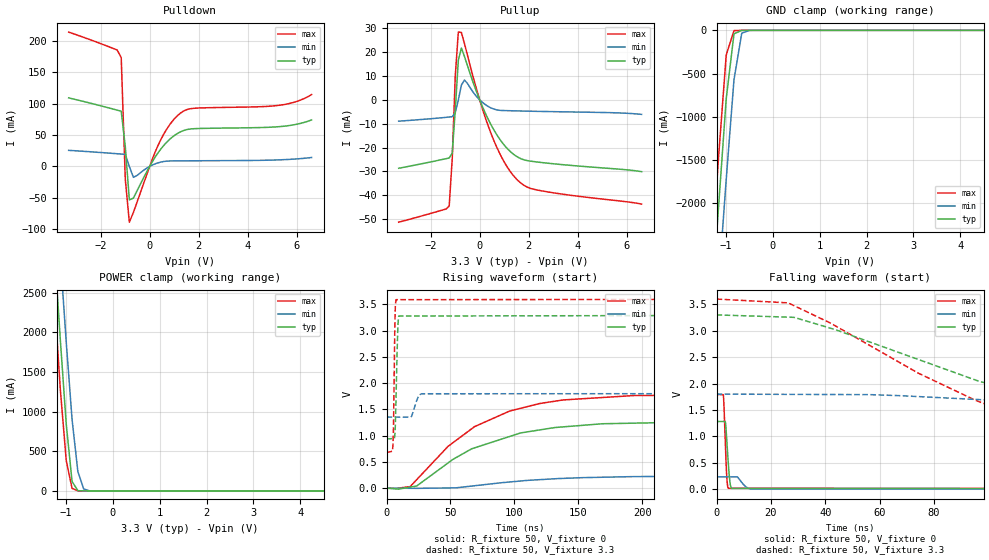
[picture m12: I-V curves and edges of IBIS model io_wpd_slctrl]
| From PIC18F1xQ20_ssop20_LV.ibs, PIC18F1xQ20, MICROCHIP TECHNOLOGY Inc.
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[Model] io_wpd_slctrl
Model_type I/O
Vinl  =  0.8
Vinh  =  2
| Capacitance   typ   min   max
C_comp   2.483675929654127e-12   2.463511073564505e-12   2.647142046368805e-12
[Model Spec]
| Subparameter   typ   min   max
Vinl   1.5   0.81   1.65
Vinh   3.6   1.89   3.85
Vmeas   2.5   1.35   2.75
| Variables   typ   min   max
[GND Clamp Reference]   0   0   0
[POWER Clamp Reference]   3.3   1.8   3.6
[Pulldown Reference]   0   0   0
[Pullup Reference]   3.3   1.8   3.6
[Temperature Range]   25   125   -40
[Voltage Range]   3.3   1.8   3.6
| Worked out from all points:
|   slope of the pulldown table from 0 to 0.495 V, typ, clamps not added: 16.7 ohm
|   slope of the pullup table from 0 to 0.495 V, typ, clamps not added: 44.8 ohm
|   GND clamp passes 1 mA (typ) near -0.66 V on its own axis
|   POWER clamp passes 1 mA (typ) near -0.65 V on its own axis
|   falling waveform, R_fixture 50, V_fixture 0: 20-80 % time 1.05ns typ, 2.37ns min, 798ps max; typ from 1.28 V to 0 V
|   falling waveform, R_fixture 50, V_fixture 3.3: 20-80 % time 94.8ns typ, 139ns min, 70ns max; typ from 3.3 V to 0.94 V
|   rising waveform, R_fixture 50, V_fixture 0: 20-80 % time 65.9ns typ, 68.9ns min, 62ns max; typ from 0 V to 1.28 V
|   rising waveform, R_fixture 50, V_fixture 3.3: 20-80 % time 1.44ns typ, 3.73ns min, 955ps max; typ from 0.936 V to 3.3 V
[GND Clamp]
| Voltage   I(typ)   I(min)   I(max)
-3.3V     -18.84A    -18.97A    -18.81A
-1.324V   -3.355A    -4.2A      -2.821A
-1.159V   -2.058A    -2.962A    -1.482A
-993.1mV  -791.4mA   -1.724A    -285.7mA
-827.6mV  -40.7mA    -571.9mA   -3.274mA
-662.1mV  -676.8uA   -33.3mA    -477.2uA
-496.6mV  -18.05uA   -400.8uA   -5.014uA
6.6V      0A         0A         0A
[POWER Clamp]
| Voltage   I(typ)   I(min)   I(max)
-3.3V     21.47A     21.8A      21.32A
-1.366V   4.117A     5.085A     3.517A
-1.241V   3.003A     4.012A     2.375A
-1.117V   1.89A      2.94A      1.267A
-993.1mV  844.1mA    1.877A     383.7mA
-869mV    119.8mA    904.7mA    32.43mA
-744.8mV  2.933mA    244.5mA    1.347mA
-620.7mV  318.4uA    25.24mA    377.7uA
-496.6mV  24.48uA    984.8uA    41.86uA
6.6V      0A         0A         0A
[Pulldown]
| Voltage   I(typ)   I(min)   I(max)
-3.3V     109.4mA    25.68mA    214.5mA
-1.324V   89.88mA    20.27mA    185.9mA
-1.159V   88.12mA    19.77mA    173.8mA
-993.1mV  31.88mA    19.25mA    -20.25mA
-827.6mV  -53.52mA   -38.8uA    -89.02mA
-662.1mV  -50.57mA   -17.43mA   -73.42mA
341.4mV   21.7mA     5.717mA    33.47mA
796.6mV   42.57mA    8.672mA    65.49mA
1.252V    55.15mA    8.913mA    85mA
1.821V    60.27mA    9.023mA    92.84mA
5.286V    63.53mA    10.51mA    97.64mA
6.6V      74.27mA    14.23mA    114.7mA
[Pullup]
| Voltage   I(typ)   I(min)   I(max)
-3.3V     -28.7mA    -8.943mA   -51.33mA
-1.241V   -24.41mA   -7.199mA   -44.6mA
-1.117V   -22.37mA   -7.062mA   -24.69mA
-993.1mV  -4.232mA   -5.311mA   10.1mA
-869mV    16.63mA    -60.81uA   28.44mA
-744.8mV  21.75mA    6.171mA    28.29mA
-620.7mV  18.28mA    8.311mA    23.71mA
455.2mV   -10.29mA   -3.355mA   -13.89mA
1.024V    -19.27mA   -4.499mA   -26.48mA
1.593V    -24.26mA   -4.657mA   -34.17mA
2.503V    -26.27mA   -4.856mA   -38.14mA
6.6V      -30.13mA   -6.092mA   -43.74mA
[Ramp]
dV/dt_r   0.768802/65.8881n  0.139526/68.8912n  1.07649/61.9945n
dV/dt_f   1.41629/94.757n  0.266573/0.138839u  1.75181/69.9974n
R_load = 50
[Falling Waveform]
R_fixture = 50
V_fixture = 0
V_fixture_min = 0
V_fixture_max = 0
| Time   V(typ)   V(min)   V(max)
0s        1.281V     232.5mV    1.794V
2.497ns   1.282V     232.6mV    1.789V
2.761ns   1.282V     232.7mV    1.551V
3.303ns   1.263V     232.7mV    795.1mV
3.881ns   839.5mV    232.7mV    150.2mV
4.323ns   499.5mV    232.7mV    16.21mV
4.918ns   138.7mV    232.7mV    16.2mV
5.478ns   14.18mV    232.8mV    16.18mV
12.71ns   14mV       2.793mV    15.97mV
562.5ns   502.4nV    773.5nV    422.6nV
[Falling Waveform]
R_fixture = 50
V_fixture = 3.3
V_fixture_min = 1.8
V_fixture_max = 3.6
| Time   V(typ)   V(min)   V(max)
0s        3.3V       1.8V       3.6V
26.37ns   3.257V     1.795V     3.528V
43.81ns   3.02V      1.792V     3.091V
74.3ns    2.455V     1.753V     2.196V
96.39ns   2.047V     1.697V     1.661V
118.5ns   1.743V     1.64V      1.22V
161.9ns   1.3V       1.538V     887.5mV
212.2ns   1.095V     1.464V     785.1mV
286.3ns   999mV      1.406V     755.7mV
562.5ns   939.5mV    1.356V     680.3mV
[Rising Waveform]
R_fixture = 50
V_fixture = 0
V_fixture_min = 0
V_fixture_max = 0
| Time   V(typ)   V(min)   V(max)
0s        -69.41pV   4.481nV    -78.92pV
18.51ns   19.54mV    -2.612mV   30.44mV
23.58ns   41.1mV     -3.327mV   161.5mV
47.96ns   477.5mV    3.734mV    792.2mV
68.77ns   766.9mV    45.45mV    1.171V
96.15ns   982.9mV    117.2mV    1.467V
138.2ns   1.167V     186.1mV    1.679V
193.7ns   1.237V     219.2mV    1.763V
279.8ns   1.277V     227.4mV    1.771V
562.5ns   1.281V     232.5mV    1.794V
[Rising Waveform]
R_fixture = 50
V_fixture = 3.3
V_fixture_min = 1.8
V_fixture_max = 3.6
| Time   V(typ)   V(min)   V(max)
0s        936.3mV    1.353V     678.2mV
5.05ns    943.8mV    1.353V     831.2mV
5.51ns    944.5mV    1.353V     1.259V
6.592ns   1.045V     1.353V     3.203V
7.465ns   1.763V     1.353V     3.588V
8.633ns   2.896V     1.353V     3.588V
9.533ns   3.277V     1.353V     3.588V
19.69ns   3.277V     1.37V      3.589V
27.54ns   3.278V     1.797V     3.589V
562.5ns   3.3V       1.8V       3.6V
